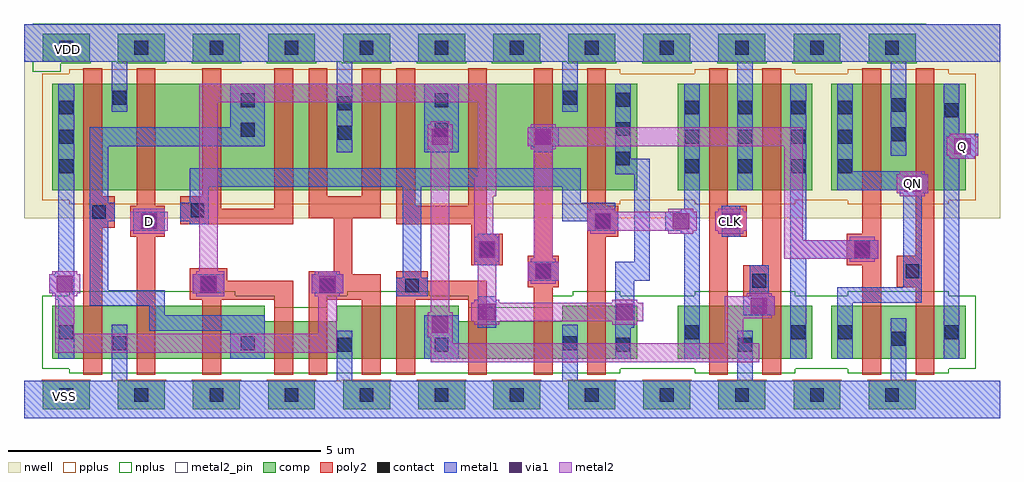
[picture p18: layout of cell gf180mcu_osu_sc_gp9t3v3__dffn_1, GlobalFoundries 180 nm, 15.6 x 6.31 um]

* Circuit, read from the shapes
.subckt gf180mcu_osu_sc_gp9t3v3__dffn_1 CLK D Q QN VDD VSS
XM1 VSS n1 n2 VSS nfet_03v3 w=0.85u l=0.3u
XM2 n3 D VSS VSS nfet_03v3 w=0.85u l=0.3u
XM3 n1 n4 n3 VSS nfet_03v3 w=0.85u l=0.3u
XM4 n5 n4 n1 VSS nfet_03v3 w=0.6u l=0.3u
XM5 VSS n2 n5 VSS nfet_03v3 w=0.6u l=0.3u
XM6 n6 n2 VSS VSS nfet_03v3 w=0.85u l=0.3u
XM7 n7 n8 n6 VSS nfet_03v3 w=0.85u l=0.3u
XM8 n9 n8 n7 VSS nfet_03v3 w=0.6u l=0.3u
XM9 VSS n10 n9 VSS nfet_03v3 w=0.6u l=0.3u
XM10 n4 n8 VSS VSS nfet_03v3 w=0.85u l=0.3u
XM11 VSS CLK n8 VSS nfet_03v3 w=0.85u l=0.3u
XM12 n10 n7 VSS VSS nfet_03v3 w=0.85u l=0.3u
XM13 VSS n10 QN VSS nfet_03v3 w=0.85u l=0.3u
XM14 Q QN VSS VSS nfet_03v3 w=0.85u l=0.3u
XM15 VDD n1 n2 VDD pfet_03v3 w=1.7u l=0.3u
XM16 n11 D VDD VDD pfet_03v3 w=1.7u l=0.3u
XM17 n1 n8 n11 VDD pfet_03v3 w=1.7u l=0.3u
XM18 n12 n8 n1 VDD pfet_03v3 w=1.7u l=0.3u
XM19 VDD n2 n12 VDD pfet_03v3 w=1.7u l=0.3u
XM20 n13 n2 VDD VDD pfet_03v3 w=1.7u l=0.3u
XM21 n7 n4 n13 VDD pfet_03v3 w=1.7u l=0.3u
XM22 n14 n4 n7 VDD pfet_03v3 w=1.7u l=0.3u
XM23 VDD n10 n14 VDD pfet_03v3 w=1.7u l=0.3u
XM24 n4 n8 VDD VDD pfet_03v3 w=1.7u l=0.3u
XM25 VDD CLK n8 VDD pfet_03v3 w=1.7u l=0.3u
XM26 n10 n7 VDD VDD pfet_03v3 w=1.7u l=0.3u
XM27 VDD n10 QN VDD pfet_03v3 w=1.7u l=0.3u
XM28 Q QN VDD VDD pfet_03v3 w=1.7u l=0.3u
.ends

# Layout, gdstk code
import gdstk
lib = gdstk.Library(unit=1e-6, precision=1e-09)
def R(c, l, rs):  # rectangles x0, y0, x1, y1
    for r in rs: c.add(gdstk.rectangle(r[:2], r[2:], *l))
def A(c, l, x, y, w, h, nx, ny, dx, dy):  # array of equal rectangles
    R(c, l, [(x+i*dx, y+j*dy, x+i*dx+w, y+j*dy+h) for i in range(nx) for j in range(ny)])
nwell = (21, 0)
comp = (22, 0)
poly2 = (30, 0)
pplus = (31, 0)
nplus = (32, 0)
contact = (33, 0)
metal1 = (34, 0)
via1 = (35, 0)
metal2 = (36, 0)
metal2_pin = (36, 10)

gf180mcu_osu_sc_gp9t3v3_ = lib.new_cell('gf180mcu_osu_sc_gp9t3v3__dffn_1')
R(gf180mcu_osu_sc_gp9t3v3_, nwell, [(0,3.2,15.6,6.3)])
A(gf180mcu_osu_sc_gp9t3v3_, comp, 0.3, 0.15, 0.75, 0.45, 12, 2, 1.2, 5.55)
R(gf180mcu_osu_sc_gp9t3v3_, comp, [(0.45,0.95,9.8,1.55), (10.45,0.95,12.6,1.8), (12.9,0.95,15.05,1.8), (0.45,1.55,3.85,1.8), (5,1.55,6.95,1.8), (8.6,1.55,9.8,1.8), (0.45,3.65,9.8,5.35), (10.45,3.65,12.6,5.35), (12.9,3.65,15.05,5.35)])
R(gf180mcu_osu_sc_gp9t3v3_, poly2, [(0.95,0.7,1.25,3.05), (1.8,0.7,2.1,2.9), (2.85,0.7,3.15,1.9), (4,0.7,4.3,1.9), (4.55,0.7,4.85,1.9), (5.4,0.7,5.7,1.9), (5.95,0.7,6.25,1.9), (7.1,0.7,7.4,1.9), (8.15,0.7,8.45,2.1), (9,0.7,9.3,2.9), (10.95,0.7,11.25,2.9), (11.8,0.7,12.1,1.95), (13.4,0.7,13.7,2.45), (14.25,0.7,14.55,2.1), (2.65,1.9,4.3,2.2), (4.55,1.9,5.7,2.3), (5.95,1.9,7.4,2.2), (11.5,1.95,12.1,2.45), (8.05,2.1,8.55,2.6), (13.95,2.1,14.55,2.6), (2.65,2.2,3.25,2.4), (5.95,2.2,6.45,2.35), (4.55,2.3,5.25,2.35), (4.95,2.35,5.25,3.2), (7.15,2.45,7.65,2.95), (11.8,2.45,12.1,5.6), (13.15,2.45,13.7,2.95), (8.15,2.6,8.45,5.6), (14.25,2.6,14.55,5.6), (1.7,2.9,2.25,3.4), (9,2.9,9.5,3.4), (10.95,2.9,11.55,3.4), (7.15,2.95,7.4,3.1), (13.4,2.95,13.7,5.6), (0.95,3.05,1.45,3.55), (2.5,3.1,4.3,3.35), (5.95,3.1,7.4,3.4), (4.55,3.2,5.7,3.55), (2.5,3.35,3.15,3.55), (4,3.35,4.3,5.6), (1.8,3.4,2.1,5.6), (5.95,3.4,6.25,5.6), (7.1,3.4,7.4,5.6), (9,3.4,9.3,5.6), (10.95,3.4,11.25,5.6), (0.95,3.55,1.25,5.6), (2.85,3.55,3.15,5.6), (4.55,3.55,4.85,5.6), (5.4,3.55,5.7,5.6)])
A(gf180mcu_osu_sc_gp9t3v3_, pplus, 0.28, 0.13, 0.79, 0.49, 12, 1, 1.2, 0)
R(gf180mcu_osu_sc_gp9t3v3_, pplus, [(0,0,15.6,0.6), (0.72,3.42,9.53,3.49), (10.72,3.42,12.33,3.49), (13.17,3.42,14.78,3.49), (0.29,3.49,15.21,5.51), (0.72,5.51,9.53,5.58), (10.72,5.51,12.33,5.58), (13.17,5.51,14.78,5.58)])
A(gf180mcu_osu_sc_gp9t3v3_, nplus, 1.48, 5.68, 0.79, 0.02, 11, 1, 1.2, 0)
R(gf180mcu_osu_sc_gp9t3v3_, nplus, [(0.72,0.72,9.53,0.79), (10.72,0.72,12.33,0.79), (13.17,0.72,14.78,0.79), (0.29,0.79,15.21,1.78), (0.29,1.78,4.01,1.96), (4.84,1.78,7.11,1.96), (8.44,1.78,15.21,1.96), (0.72,1.96,3.38,2.03), (5.17,1.96,6.48,2.03), (8.77,1.96,9.53,2.03), (10.72,1.96,12.33,2.03), (13.17,1.96,14.78,2.03), (0.14,5.54,0.59,5.68), (0.14,5.68,1.07,5.7), (0,5.7,15.6,6.3), (0,5.7,15.6,6.3), (0.14,6.3,14.41,6.31)])
A(gf180mcu_osu_sc_gp9t3v3_, contact, 0.565, 0.265, 0.22, 0.22, 12, 2, 1.2, 5.55)
A(gf180mcu_osu_sc_gp9t3v3_, contact, 0.565, 3.92, 0.22, 0.22, 1, 3, 0, 0.47)
A(gf180mcu_osu_sc_gp9t3v3_, contact, 10.565, 3.92, 0.22, 0.22, 3, 3, 0.85, 0.47)
A(gf180mcu_osu_sc_gp9t3v3_, contact, 13.015, 3.92, 0.22, 0.22, 1, 3, 0, 0.47)
A(gf180mcu_osu_sc_gp9t3v3_, contact, 9.465, 4.045, 0.22, 0.22, 1, 3, 0, 0.47)
R(gf180mcu_osu_sc_gp9t3v3_, contact, [(5.015,1.065,5.235,1.285), (6.565,1.065,6.785,1.285), (9.465,1.065,9.685,1.285), (11.415,1.065,11.635,1.285), (1.415,1.09,1.635,1.31), (3.465,1.09,3.685,1.31), (8.615,1.09,8.835,1.31), (13.865,1.165,14.085,1.385), (0.565,1.265,0.785,1.485), (10.565,1.265,10.785,1.485), (12.265,1.265,12.485,1.485), (13.015,1.265,13.235,1.485), (14.715,1.265,14.935,1.485), (4.74,2.015,4.96,2.235), (6.09,2.015,6.31,2.235), (2.84,2.04,3.06,2.26), (11.64,2.09,11.86,2.31), (8.19,2.24,8.41,2.46), (14.09,2.24,14.31,2.46), (7.29,2.59,7.51,2.81), (13.29,2.59,13.51,2.81), (1.89,3.04,2.11,3.26), (9.14,3.04,9.36,3.26), (11.19,3.04,11.41,3.26), (1.09,3.19,1.31,3.41), (2.665,3.215,2.885,3.435), (13.865,4.43,14.085,4.65), (5.015,4.455,5.235,4.675), (3.465,4.505,3.685,4.725), (6.565,4.505,6.785,4.725), (14.715,4.815,14.935,5.035), (13.865,4.9,14.085,5.12), (5.015,4.925,5.235,5.145), (3.465,4.975,3.685,5.195), (6.565,4.975,6.785,5.195), (1.415,5.015,1.635,5.235), (8.615,5.015,8.835,5.235)])
R(gf180mcu_osu_sc_gp9t3v3_, metal1, [(0,0,15.6,0.6), (1.4,0.6,1.65,1.5), (5,0.6,5.25,1.4), (8.6,0.6,8.85,1.5), (11.4,0.6,11.65,1.4), (13.85,0.6,14.1,1.6), (0.55,0.95,0.8,1.9), (3.3,0.95,3.85,1.4), (6.4,0.95,6.95,1.65), (9.45,0.95,9.7,1.45), (10.55,0.95,10.8,2.95), (12.25,0.95,12.5,2.55), (13,0.95,13.25,1.85), (14.7,0.95,14.95,4.15), (2,1.4,3.85,1.65), (7.25,1.45,7.55,1.95), (9.45,1.45,9.75,2.2), (2,1.65,2.25,1.8), (11.5,1.65,12,1.95), (1.05,1.8,2.25,2.05), (13,1.85,14.35,2.1), (0.5,1.9,0.8,2), (5.95,1.95,6.45,2.25), (11.6,1.95,11.9,2.45), (0.4,2,0.8,2.3), (2.7,2,3.2,2.3), (4.6,2,5.1,2.3), (1.05,2.05,1.35,3.15), (14.05,2.1,14.35,3.6), (8.05,2.2,8.55,2.5), (9.45,2.2,10,2.5), (6.05,2.25,6.35,3.7), (0.5,2.3,0.8,2.35), (4.7,2.3,5,2.35), (0.55,2.35,0.8,5.35), (7.25,2.45,7.55,2.5), (7.2,2.5,7.6,2.9), (9.75,2.5,10,3.9), (12.25,2.55,13.65,2.85), (12.25,2.85,12.5,5.35), (7.25,2.9,7.55,2.95), (11.15,2.9,11.45,3.4), (10.5,2.95,10.8,3), (1.75,3,2.25,3.3), (9,3,9.5,3.15), (10.25,3,10.8,3.3), (2.65,3.1,2.95,3.15), (1.05,3.15,1.45,3.45), (2.5,3.15,2.95,3.45), (8.6,3.15,9.5,3.3), (8.6,3.3,9.45,3.45), (10.5,3.3,10.8,3.35), (10.55,3.35,10.8,5.35), (1.05,3.45,1.35,4.35), (2.65,3.45,2.95,3.7), (8.6,3.45,8.9,3.7), (13.95,3.6,14.45,3.65), (11.4,3.65,11.65,5.7), (13,3.65,14.45,3.9), (2.65,3.7,8.9,4), (9.45,3.9,10,4.15), (13,3.9,14.35,3.95), (13,3.95,13.25,5.35), (9.45,4.15,9.7,5.35), (14.7,4.15,15.2,4.2), (13.85,4.2,14.1,5.7), (14.7,4.2,15.25,4.55), (5,4.25,5.25,5.7), (6.4,4.25,6.95,5.35), (8.15,4.25,8.45,4.35), (1.05,4.35,3.85,4.65), (8.05,4.35,8.55,4.65), (14.7,4.55,14.95,5.35), (3.3,4.65,3.85,5.35), (1.4,4.9,1.65,5.7), (8.6,4.9,8.85,5.7), (0,5.7,15.6,6.3)])
R(gf180mcu_osu_sc_gp9t3v3_, via1, [(6.52,1.37,6.78,1.63), (7.27,1.57,7.53,1.83), (9.47,1.57,9.73,1.83), (11.62,1.67,11.88,1.93), (0.52,2.02,0.78,2.28), (2.82,2.02,3.08,2.28), (4.72,2.02,4.98,2.28), (8.17,2.22,8.43,2.48), (7.27,2.57,7.53,2.83), (13.27,2.57,13.53,2.83), (1.87,3.02,2.13,3.28), (9.12,3.02,9.38,3.28), (10.37,3.02,10.63,3.28), (11.17,3.02,11.43,3.28), (14.07,3.62,14.33,3.88), (14.87,4.22,15.13,4.48), (6.52,4.37,6.78,4.63), (8.17,4.37,8.43,4.63)])
R(gf180mcu_osu_sc_gp9t3v3_, metal2, [(6.5,0.9,11.75,1.2), (0.5,1.05,5,1.35), (6.5,1.2,6.85,1.3), (11.2,1.2,11.5,1.6), (6.45,1.3,6.85,1.7), (0.5,1.35,0.8,1.95), (4.7,1.35,5,1.95), (7.2,1.5,7.6,1.55), (9.4,1.5,9.8,1.55), (7.15,1.55,9.9,1.85), (11.2,1.6,11.95,1.65), (11.2,1.65,12,1.95), (6.5,1.7,6.8,4.3), (7.2,1.85,7.6,1.9), (9.4,1.85,9.8,1.9), (7.25,1.9,7.55,2.45), (0.45,1.95,0.85,2), (2.75,1.95,3.2,2), (4.65,1.95,5.05,2), (11.55,1.95,11.95,2), (0.4,2,0.9,2.3), (2.7,2,3.2,2.3), (4.6,2,5.1,2.3), (8.1,2.15,8.5,2.2), (8.05,2.2,8.55,2.5), (0.45,2.3,0.85,2.35), (2.75,2.3,3.2,2.35), (4.65,2.3,5.05,2.35), (2.8,2.35,3.1,5.05), (7.2,2.45,7.6,2.95), (8.1,2.5,8.5,2.55), (13.2,2.5,13.6,2.55), (8.15,2.55,8.45,4.3), (12.15,2.55,13.65,2.85), (12.15,2.85,12.45,4.35), (13.2,2.85,13.6,2.9), (1.75,2.95,2.25,3), (7.2,2.95,7.5,3.55), (9.05,2.95,9.45,3), (10.3,2.95,10.7,3), (11.1,2.95,11.5,3), (1.7,3,2.3,3.3), (9,3,10.75,3.3), (11.05,3,11.55,3.3), (1.75,3.3,2.25,3.35), (9.05,3.3,9.45,3.35), (10.3,3.3,10.7,3.35), (11.1,3.3,11.5,3.35), (7.2,3.55,7.55,3.85), (14,3.55,14.4,3.6), (13.95,3.6,14.45,3.9), (7.25,3.85,7.55,5.05), (14,3.9,14.4,3.95), (14.8,4.15,15.2,4.2), (14.75,4.2,15.25,4.5), (6.45,4.3,6.85,4.7), (8.1,4.3,8.5,4.35), (8.05,4.35,12.45,4.65), (14.8,4.5,15.2,4.55), (8.1,4.65,8.5,4.7), (6.5,4.7,6.8,4.75), (2.8,5.05,7.55,5.35)])
R(gf180mcu_osu_sc_gp9t3v3_, metal2_pin, [(11.15,3,11.45,3.3)])
gf180mcu_osu_sc_gp9t3v3_.add(gdstk.Label('VDD', (0.7,5.9), layer=22, texttype=0))
gf180mcu_osu_sc_gp9t3v3_.add(gdstk.Label('VSS', (0.65,0.35), layer=22, texttype=0))
gf180mcu_osu_sc_gp9t3v3_.add(gdstk.Label('D', (2,3.15), layer=36, texttype=10))
gf180mcu_osu_sc_gp9t3v3_.add(gdstk.Label('CLK', (11.3,3.15), layer=36, texttype=10))
gf180mcu_osu_sc_gp9t3v3_.add(gdstk.Label('Q', (15,4.35), layer=36, texttype=10))
gf180mcu_osu_sc_gp9t3v3_.add(gdstk.Label('QN', (14.2,3.75), layer=36, texttype=10))

lib.write_gds('gf180mcu_osu_sc_gp9t3v3__dffn_1.gds')
